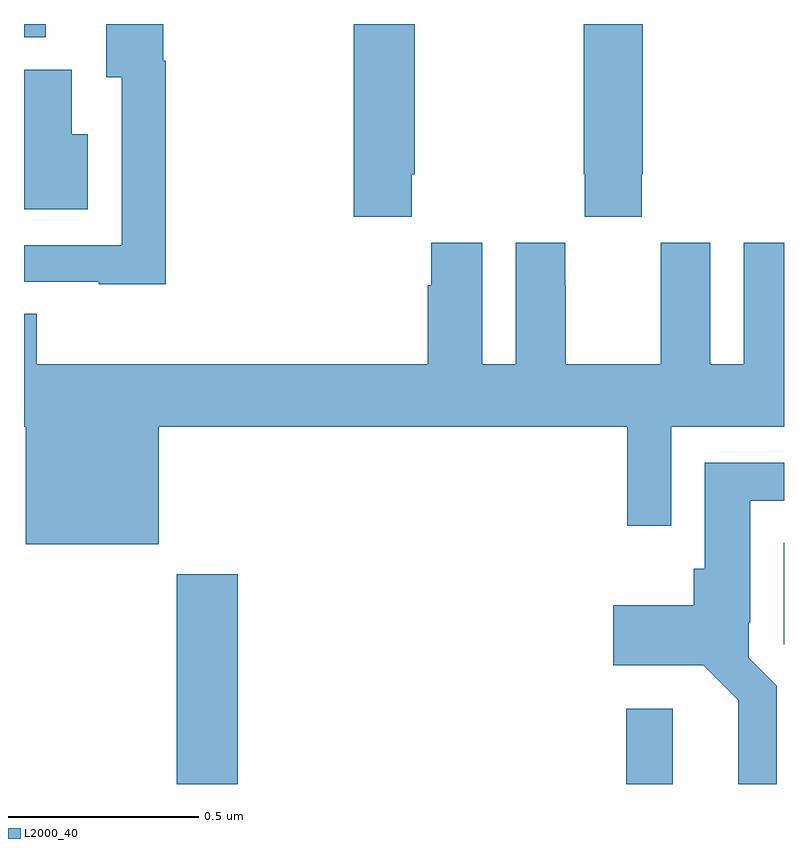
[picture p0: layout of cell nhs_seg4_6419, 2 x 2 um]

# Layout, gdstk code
import gdstk
lib = gdstk.Library(unit=1e-6, precision=1e-09)
def R(c, l, rs):  # rectangles x0, y0, x1, y1
    for r in rs: c.add(gdstk.rectangle(r[:2], r[2:], *l))
def P(c, l, *ps):  # polygons
    for p in ps: c.add(gdstk.Polygon(p, *l))
L2000_40 = (2000, 40)

nhs_seg4_6419 = lib.new_cell('nhs_seg4_6419')
R(nhs_seg4_6419, L2000_40, [(190.402,775.9,190.562,776.452), (191.585,775.9,191.707,776.098), (191.999,776.268,192,776.535), (190,777.865,190.057,777.9)])
P(nhs_seg4_6419, L2000_40, [(191.021,777.505),(191.028,777.505),(191.028,777.9),(190.868,777.9),(190.868,777.393),(191.021,777.393)],
  [(191.625,777.505),(191.628,777.505),(191.628,777.9),(191.473,777.9),(191.473,777.505),(191.475,777.505),(191.475,777.393),(191.625,777.393)],
  [(190.373,777.803),(190.366,777.803),(190.366,777.9),(190.217,777.9),(190.217,777.76),(190.257,777.76),(190.257,777.318),(190,777.318),(190,777.222),(190.197,777.222),(190.197,777.215),(190.373,777.215)],
  [(190.168,777.61),(190.126,777.61),(190.126,777.78),(190,777.78),(190,777.413),(190.168,777.413)],
  [(190.354,776.84),(191.587,776.84),(191.587,776.58),(191.703,776.58),(191.703,776.84),(192,776.84),(192,777.325),(191.894,777.325),(191.894,777.004),(191.806,777.004),(191.806,777.325),(191.676,777.325),(191.676,777.212),(191.675,777.212),(191.675,777.004),(191.425,777.004),(191.425,777.212),(191.424,777.212),(191.424,777.325),(191.294,777.325),(191.294,777.004),(191.206,777.004),(191.206,777.325),(191.072,777.325),(191.072,777.212),(191.063,777.212),(191.063,777.004),(190.034,777.004),(190.034,777.137),(190,777.137),(190,776.84),(190.004,776.84),(190.004,776.531),(190.354,776.531)],
  [(191.981,776.158),(191.907,776.232),(191.907,776.326),(191.911,776.326),(191.911,776.645),(192,776.645),(192,776.746),(191.792,776.746),(191.792,776.466),(191.762,776.466),(191.762,776.371),(191.55,776.371),(191.55,776.213),(191.787,776.213),(191.88,776.12),(191.88,776.018),(191.879,776.018),(191.879,775.9),(191.981,775.9)])

lib.write_gds('nhs_seg4_6419.gds')
